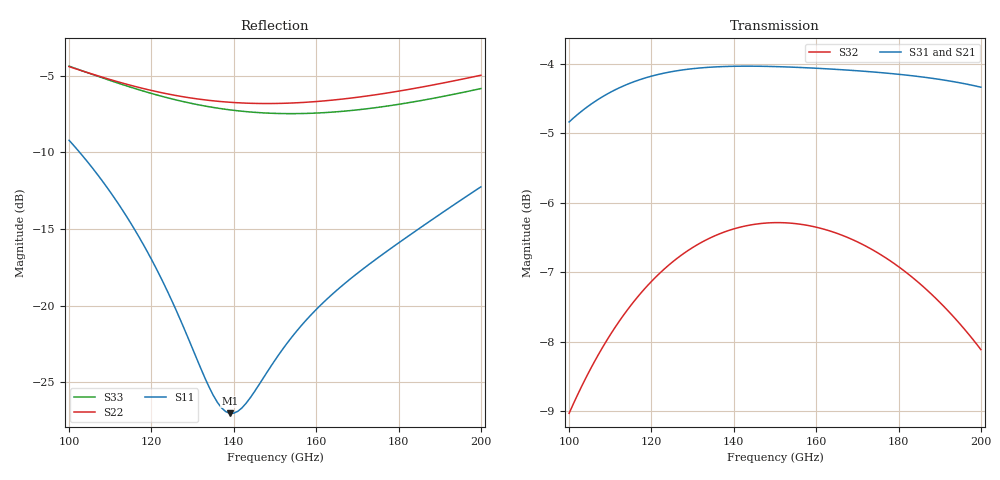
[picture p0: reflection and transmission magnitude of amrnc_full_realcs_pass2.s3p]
! Created with skrf 2.1.0 (http://scikit-rf.org).
# GHz S DB R 50.0
! Port[1] = P1
! Port[2] = P2
! Port[3] = P3
!freq dBS11 angS11 dBS12 angS12 dBS13 angS13
! dBS21 angS21 dBS22 angS22 dBS23 angS23
! dBS31 angS31 dBS32 angS32 dBS33 angS33
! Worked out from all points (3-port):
!   101 points, 100 GHz to 200 GHz, reference 50 ohm
!   strongest paths, dB at 100 GHz, 125 GHz, 150 GHz, 175 GHz, 200 GHz:
!     S31: -4.8, -4.1, -4.0, -4.1, -4.3
!     S21: -4.5, -4.0, -4.0, -4.3, -4.8
!     S32: -9.0, -6.9, -6.3, -6.7, -8.1
!   lowest |S11| = -27.0 dB at 139 GHz (marker M1), VSWR 1.09, Z = 45.9 + j1.04 ohm
!   |S11| at or under -10 dB: 102.5 GHz to end of sweep
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100  -9.22 129.6  -4.55 -13.6  -4.84 162.3
     -4.55 -13.6  -4.42 60.2  -9.03 89.8
     -4.84 162.3  -9.03 89.8  -4.39 49.8
110  -12.59 118.7  -4.18 -29.4  -4.41 145.6
     -4.18 -29.4  -5.26 51.1  -7.90 74.2
     -4.41 145.6  -7.90 74.2  -5.33 39.0
120  -16.98 113.9  -4.01 -44.1  -4.18 129.9
     -4.01 -44.1  -5.97 43.1  -7.13 59.4
     -4.18 129.9  -7.13 59.4  -6.17 29.6
135  -25.83 141.9  -3.96 -64.5  -4.05 108.2
     -3.96 -64.5  -6.65 32.3  -6.49 38.7
     -4.05 108.2  -6.49 38.7  -7.08 17.2
139  -27.01 165.3  -3.97 -69.6  -4.04 102.7
     -3.97 -69.6  -6.74 29.5  -6.40 33.5
     -4.04 102.7  -6.40 33.5  -7.24 14.1
143  -26.35 -172.3  -3.99 -74.6  -4.03 97.4
     -3.99 -74.6  -6.80 26.6  -6.33 28.3
     -4.03 97.4  -6.33 28.3  -7.35 11.1
150  -23.55 -150.6  -4.04 -83.3  -4.04 88.2
     -4.04 -83.3  -6.82 21.5  -6.29 19.5
     -4.04 88.2  -6.29 19.5  -7.47 5.8
160  -20.25 -140.0  -4.12 -95.3  -4.06 75.4
     -4.12 -95.3  -6.70 13.8  -6.35 7.3
     -4.06 75.4  -6.35 7.3  -7.45 -2.0
174  -17.07 -135.8  -4.28 -111.9  -4.12 57.9
     -4.28 -111.9  -6.27 2.2  -6.69 -9.4
     -4.12 57.9  -6.69 -9.4  -7.11 -13.4
200  -12.25 -139.5  -4.78 -143.4  -4.34 24.9
     -4.78 -143.4  -4.98 -22.4  -8.12 -40.0
     -4.34 24.9  -8.12 -40.0  -5.85 -36.9
